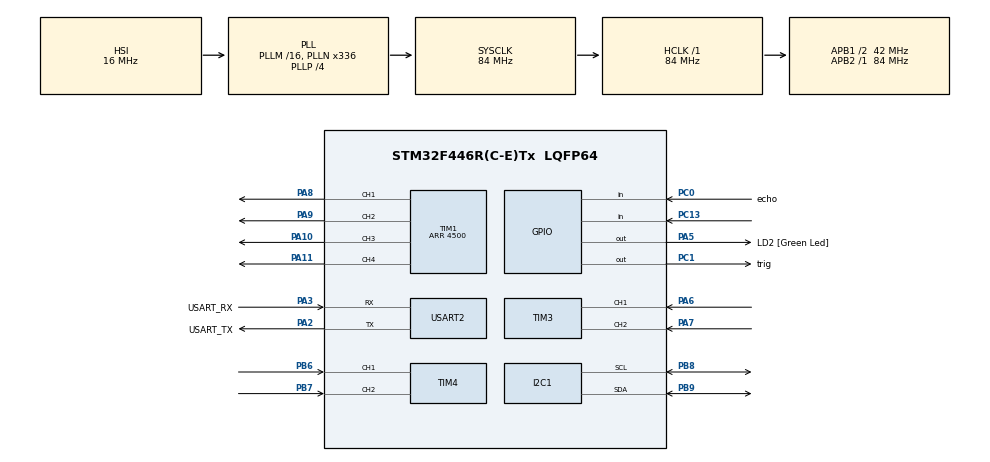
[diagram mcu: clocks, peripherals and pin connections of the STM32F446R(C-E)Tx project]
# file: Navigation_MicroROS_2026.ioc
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Dma.Request0=USART2_RX
Dma.Request1=USART2_TX
Dma.USART2_RX.0.Direction=DMA_PERIPH_TO_MEMORY
Dma.USART2_RX.0.FIFOMode=DMA_FIFOMODE_DISABLE
Dma.USART2_RX.0.Instance=DMA1_Stream5
Dma.USART2_RX.0.MemDataAlignment=DMA_MDATAALIGN_BYTE
Dma.USART2_RX.0.MemInc=DMA_MINC_ENABLE
Dma.USART2_RX.0.Mode=DMA_CIRCULAR
Dma.USART2_RX.0.PeriphDataAlignment=DMA_PDATAALIGN_BYTE
Dma.USART2_RX.0.PeriphInc=DMA_PINC_DISABLE
Dma.USART2_RX.0.Priority=DMA_PRIORITY_VERY_HIGH
Dma.USART2_TX.1.Direction=DMA_MEMORY_TO_PERIPH
Dma.USART2_TX.1.FIFOMode=DMA_FIFOMODE_DISABLE
Dma.USART2_TX.1.Instance=DMA1_Stream6
Dma.USART2_TX.1.MemDataAlignment=DMA_MDATAALIGN_BYTE
Dma.USART2_TX.1.MemInc=DMA_MINC_ENABLE
Dma.USART2_TX.1.Mode=DMA_NORMAL
Dma.USART2_TX.1.PeriphDataAlignment=DMA_PDATAALIGN_BYTE
Dma.USART2_TX.1.PeriphInc=DMA_PINC_DISABLE
Dma.USART2_TX.1.Priority=DMA_PRIORITY_VERY_HIGH
FREERTOS.Tasks01=defaultTask,24,2000,StartDefaultTask,Default,NULL,Dynamic,NULL,NULL;executor,8,500,executor_function,Default,NULL,Dynamic,NULL,NULL;IMU_update_task,8,500,IMU_update_function,Default,NULL,Dynamic,NULL,NULL
FREERTOS.configUSE_NEWLIB_REENTRANT=1
I2C1.I2C_Mode=I2C_Fast
Mcu.Family=STM32F4
Mcu.Name=STM32F446R(C-E)Tx
Mcu.Package=LQFP64
NVIC.DMA1_Stream5_IRQn=true\:5\:0\:false\:false\:true\:true\:false\:true\:true
NVIC.DMA1_Stream6_IRQn=true\:5\:0\:false\:false\:true\:true\:false\:true\:true
NVIC.PriorityGroup=NVIC_PRIORITYGROUP_4
NVIC.TIM2_IRQn=true\:15\:0\:true\:false\:true\:false\:false\:true\:true
NVIC.TIM7_IRQn=true\:5\:0\:false\:false\:true\:true\:true\:true\:true
NVIC.TIM8_TRG_COM_TIM14_IRQn=true\:5\:0\:false\:false\:true\:true\:true\:true\:true
NVIC.TimeBase=TIM2_IRQn
NVIC.TimeBaseIP=TIM2
NVIC.USART2_IRQn=true\:5\:0\:false\:false\:true\:true\:true\:true\:true
PA10.Signal=S_TIM1_CH3
PA11.Signal=S_TIM1_CH4
PA13.GPIO_Label=TMS
PA13.Mode=Trace_Asynchronous_SW
PA13.Signal=SYS_JTMS-SWDIO
PA14.GPIO_Label=TCK
PA14.Mode=Trace_Asynchronous_SW
PA14.Signal=SYS_JTCK-SWCLK
PA2.GPIO_Label=USART_TX
PA2.Mode=Asynchronous
PA2.Signal=USART2_TX
PA3.GPIO_Label=USART_RX
PA3.Mode=Asynchronous
PA3.Signal=USART2_RX
PA5.GPIO_Label=LD2 [Green Led]
PA5.Signal=GPIO_Output
PA6.GPIO_PuPd=GPIO_PULLUP
PA6.GPIO_Speed=GPIO_SPEED_FREQ_LOW
PA6.Signal=S_TIM3_CH1
PA7.GPIO_PuPd=GPIO_PULLUP
PA7.GPIO_Speed=GPIO_SPEED_FREQ_LOW
PA7.Signal=S_TIM3_CH2
PA8.Signal=S_TIM1_CH1
PA9.Signal=S_TIM1_CH2
PB3.GPIO_Label=SWO
PB3.Mode=Trace_Asynchronous_SW
PB3.Signal=SYS_JTDO-SWO
PB6.GPIO_PuPd=GPIO_PULLUP
PB6.GPIO_Speed=GPIO_SPEED_FREQ_LOW
PB6.Signal=S_TIM4_CH1
PB7.GPIO_PuPd=GPIO_PULLUP
PB7.GPIO_Speed=GPIO_SPEED_FREQ_LOW
PB7.Signal=S_TIM4_CH2
PB8.Mode=I2C
PB8.Signal=I2C1_SCL
PB9.Mode=I2C
PB9.Signal=I2C1_SDA
PC0.GPIO_Label=echo
PC0.Signal=GPIO_Input
PC1.GPIO_Label=trig
PC1.Signal=GPIO_Output
PC13.Signal=GPIO_Input
PC14-OSC32_IN.Signal=RCC_OSC32_IN
PC15-OSC32_OUT.Signal=RCC_OSC32_OUT
PH0-OSC_IN.Signal=RCC_OSC_IN
PH1-OSC_OUT.Signal=RCC_OSC_OUT
ProjectManager.HeapSize=0x200
ProjectManager.StackSize=0x400
ProjectManager.TargetToolchain=STM32CubeIDE
RCC.AHBFreq_Value=84000000
RCC.APB1CLKDivider=RCC_HCLK_DIV2
RCC.APB1Freq_Value=42000000
RCC.APB1TimFreq_Value=84000000
RCC.APB2Freq_Value=84000000
RCC.APB2TimFreq_Value=84000000
RCC.CortexFreq_Value=84000000
RCC.FLatency-AdvancedSettings=FLASH_LATENCY_2
RCC.HCLKFreq_Value=84000000
RCC.HSE_VALUE=8000000
RCC.HSI_VALUE=16000000
RCC.PLLN=336
RCC.PLLP=RCC_PLLP_DIV4
RCC.SYSCLKFreq_VALUE=84000000
RCC.SYSCLKSource=RCC_SYSCLKSOURCE_PLLCLK
RCC.USBFreq_Value=168000000
RCC.VCOOutputFreq_Value=336000000
SH.S_TIM1_CH1.0=TIM1_CH1,PWM Generation1 CH1
SH.S_TIM1_CH2.0=TIM1_CH2,PWM Generation2 CH2
SH.S_TIM1_CH3.0=TIM1_CH3,PWM Generation3 CH3
SH.S_TIM1_CH4.0=TIM1_CH4,PWM Generation4 CH4
SH.S_TIM3_CH1.0=TIM3_CH1,Encoder_Interface
SH.S_TIM3_CH2.0=TIM3_CH2,Encoder_Interface
SH.S_TIM4_CH1.0=TIM4_CH1,Encoder_Interface
SH.S_TIM4_CH2.0=TIM4_CH2,Encoder_Interface
TIM1.Channel-PWM\ Generation1\ CH1=TIM_CHANNEL_1
TIM1.Channel-PWM\ Generation2\ CH2=TIM_CHANNEL_2
TIM1.Channel-PWM\ Generation3\ CH3=TIM_CHANNEL_3
TIM1.Channel-PWM\ Generation4\ CH4=TIM_CHANNEL_4
TIM1.Period=4500
TIM14.Period=840-1
TIM3.EncoderMode=TIM_ENCODERMODE_TI12
TIM3.IC2Filter=0
TIM4.EncoderMode=TIM_ENCODERMODE_TI12
TIM4.IC2Filter=0
TIM5.Prescaler=83
TIM7.Period=999
TIM7.Prescaler=83
USART2.VirtualMode=VM_ASYNC
VP_FREERTOS_VS_CMSIS_V2.Mode=CMSIS_V2
VP_SYS_VS_tim2.Mode=TIM2
VP_TIM14_VS_ClockSourceINT.Mode=Enable_Timer
VP_TIM5_VS_ClockSourceINT.Mode=Internal
VP_TIM7_VS_ClockSourceINT.Mode=Enable_Timer
board=NUCLEO-F446RE

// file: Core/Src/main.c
/* USER CODE BEGIN Header */
/**
  ******************************************************************************
  * @file           : main.c
  * @brief          : Main program body
  ******************************************************************************
  * @attention
  *
  * Copyright (c) 2024 STMicroelectronics.
  * All rights reserved.
  *
  * This software is licensed under terms that can be found in the LICENSE file
  * in the root directory of this software component.
  * If no LICENSE file comes with this software, it is provided AS-IS.
  *
  ******************************************************************************
  */
/* USER CODE END Header */
#include "main.h"
#include "cmsis_os.h"

/* USER CODE BEGIN Includes */
#include <stdbool.h>
#include "../Inc/micro_ros.h"
#include "Motors.h"
#include "Odometry.h"
#include "navigation.h"
#include "EKF.h"

/* USER CODE END Includes */

/* USER CODE BEGIN PTD */

bool cubemx_transport_open(struct uxrCustomTransport * transport);
bool cubemx_transport_close(struct uxrCustomTransport * transport);
size_t cubemx_transport_write(struct uxrCustomTransport* transport, const uint8_t * buf, size_t len, uint8_t * err);
size_t cubemx_transport_read(struct uxrCustomTransport* transport, uint8_t* buf, size_t len, int timeout, uint8_t* err);

void * microros_allocate(size_t size, void * state);
void microros_deallocate(void * pointer, void * state);
void * microros_reallocate(void * pointer, size_t size, void * state);
void * microros_zero_allocate(size_t number_of_elements, size_t size_of_element, void * state);

/* USER CODE END PTD */

/* USER CODE BEGIN PD */

//  Service Callback
int8_t first_forward_recieved = 0;
// speed control parameters
float kpS_R = 15; // 5
float kdS_R = 0; // at this frequency, derivative is too noisy to be utilized
float kiS_R = 200; //

float kpS_L = 15; // 15
float kdS_L = 0; //
float kiS_L = 200; // 90

int timer_flag = 0;

// position control parameters
float kpP_R = 15;
float kdP_R = 1.4;
float kiP_R = 75;

float kpP_L = 15;
float kdP_L = 1.4;
float kiP_L = 75;

float error = 0;
float dt = 0.0001;

int step = 0;

int accepted_new_go_to = 0;
int command_count = 0;
int fail_safe_activated = 1;
int fail_safe_counter = 0;

int8_t in_tornado = 0;
int32_t tornado_start_time = 0;

float last_set_position_x = 0;
float last_set_position_y = 0;
float last_set_position_phi = 0;

int8_t tornado_condition(){
	 return (
			 ((fabs(current_speed_R) + fabs(current_speed_L)) > 900)
			 &&
			 (SGN(current_speed_R) != SGN(current_speed_L))
			);
}

void reset_everything(){
	reset_motors_vars();
	reset_odometry_vars();
	reset_navigation_vars();
	current_speed_R = 0;
	current_speed_L = 0;
	previous_speed_R = 0;
	previous_speed_L = 0;
	target_speed_R = 0;
	target_speed_L = 0;
	current_acceleration_R = 0;
	current_acceleration_L = 0;
	previous_speed_calculation_time = 0;

	speed_integral_R = 0;
	speed_derivative_R = 0;
	previous_speed_error_R = 0;
	speed_integral_L = 0;
	speed_derivative_L = 0;
	previous_speed_error_L = 0;
	current_x = 0;
	current_y = 0;
	current_phi = 0;
	absolute_phi = 0;

	PWM_R = 0;
	PWM_L = 0;
	current_imu_yaw = 0;
	current_imu_gyro_z = 0;
	absolute_imu_yaw = 0;

	control_loop_state = DISACTIVATED;
	reset_speed_control_variables();
	reset_position_control_variables();
	reset_position();

	set_position(last_set_position_x, last_set_position_y, last_set_position_phi, last_set_position_phi);

	communication_state = PC;

	robot_status.status = IDLE;
	set_target_speeds(0, 0);
	control_loop_state = SPEED;

	communication_state = RASPBERRY;
}
void shutdown(){
	control_loop_state = SHUTDOWN;
	delay(1);
	control_loop_state = SHUTDOWN;
	delay(1); // 3awedt'ha marrtin 5ater faza ta3 synchro
	PWM_R = 0;
	PWM_L = 0;
}

void service_callback(const void *request_msg, void *response_msg) {
    service__srv__NaviStm_Request *req_in = (service__srv__NaviStm_Request *)request_msg;
    service__srv__NaviStm_Response *res_out = (service__srv__NaviStm_Response *)response_msg;
    communication_state = RASPBERRY;

    switch ((int)req_in->arg1) {
									 case 4: //orientate
										prepare_orientate(req_in->arg2, req_in->arg3, req_in->arg4);
										res_out->result = true;  // orientation, is_radian
										break;

									 case 5: // go to
										prepare_go_to(req_in->arg2, req_in->arg3, req_in->arg4, 1, req_in->arg5);
										res_out->result = true;  // x, y, speed
										break;

									 case 6: // Reset
										prepare_reset();
										res_out->result = true;
										break;

									 case 10: // emergency break
										prepare_emergency_break();
										res_out->result = true;
										break;

									 case 11: // is the robot idle
										res_out->result = (robot_status.status == IDLE)? true: false;
										break;

									 case 12: // go to backwards
										prepare_go_to(req_in->arg2, req_in->arg3, req_in->arg4, -1, req_in->arg5);
										res_out->result = true;  // x, y, speed
										break;
									 case 13: // bezier curve
										prepare_bezier_curve(req_in->arg2, req_in->arg3, req_in->arg4, req_in->arg5, req_in->arg6, req_in->arg7, req_in->arg8, 1, req_in->arg9);
										res_out->result = true;  // x, y, speed
										break;
									 case 14: // bezier curve backwards
										prepare_bezier_curve(req_in->arg2, req_in->arg3, req_in->arg4, req_in->arg5, req_in->arg6, req_in->arg7, req_in->arg8, -1, req_in->arg9);
										res_out->result = true;  // x, y, speed
										break;
									 case 15: // set_position
										last_set_position_x = req_in->arg2;
										last_set_position_y = req_in->arg3;
										last_set_position_phi = req_in->arg4;
										prepare_set_position(req_in->arg2, req_in->arg3, req_in->arg4, req_in->arg4);
										res_out->result = true;  // x, y, speed
										break;
									 case 16:
										 res_out->result = (
												 	 	 		 (robot_status.status == IDLE)
															 	 ||
															 	 reached_destination
															)? true: false;
										 break;
									 case 17://fix x and y
										 __disable_irq();
										 control_loop_state = DISACTIVATED;
										 float front1_back2 = req_in->arg2; // should be one if front aruco detected, 2 if back is detected, 0 if none,
										 float front_aruco_x = req_in->arg3;
										 float front_aruco_y = req_in->arg4;
										 float back_aruco_x = req_in->arg3;
										 float back_aruco_y = req_in->arg4;
										 float backup_x = req_in->arg3;
										 float backup_y = req_in->arg4;
										 float robot_phi = current_phi;
										 //reset_everything();
										 command_count = 0;
										 robot_status.status = IDLE;
										 if (!front1_back2){
											reset_position();
											set_position(backup_x, backup_y, rad_to_deg(robot_phi), rad_to_deg(robot_phi));
										 }else if (front1_back2 == 1){
											 float x = front_aruco_x + front_aruco_relative_y*sin(robot_phi) - front_aruco_relative_x*cos(robot_phi);
											 float y = front_aruco_y - front_aruco_relative_x*sin(robot_phi) - front_aruco_relative_y*cos(robot_phi);
											 set_position(x, y, rad_to_deg(robot_phi), rad_to_deg(robot_phi));
										 }else{
											 float x = back_aruco_x + back_aruco_relative_y*sin(robot_phi) - back_aruco_relative_x*cos(robot_phi);
											 float y = back_aruco_y - back_aruco_relative_x*sin(robot_phi) - back_aruco_relative_y*cos(robot_phi);
											 set_position(x, y, rad_to_deg(robot_phi), rad_to_deg(robot_phi));
										 }
										 control_loop_state = ACTIVATED;
										 __enable_irq();
										 res_out->result = true;
										 break;
									 case 18:
										 res_out->result = stopped_because_of_collision? true: false;
										 break;
									 case 19: // shutdown
										 shutdown();
										 res_out->result = true;
										 break;
									 case 20: // creep to
										 prepare_creep_to(req_in->arg2, req_in->arg3, 1);
										 res_out->result = true;  // x, y, speed
										 break;
									 case 21: // creep to backwards
										 prepare_creep_to(req_in->arg2, req_in->arg3, -1);
										 res_out->result = true;  // x, y, speed
										 break;
									 default:
										  res_out->result = false;
										  break;

    			    	  		}
}
geometry_msgs__msg__Vector3 pose_msg;
void publish_odom(void){
	float pos[3];
	get_position(pos);
	pose_msg.x = pos[0]/1000.0;
	pose_msg.y = pos[1]/1000.0;
	pose_msg.z = pos[2];

	rcl_publish(&pose_publisher, &pose_msg, NULL);
}
std_msgs__msg__String debug_msg;
void publish_debug(const char * text)
{
    rosidl_runtime_c__String__assign(&debug_msg.data, text);
    rcl_publish(&debugger_publisher, &debug_msg, NULL);
}

/* USER CODE END PD */

I2C_HandleTypeDef hi2c1;

TIM_HandleTypeDef htim1;
TIM_HandleTypeDef htim3;
TIM_HandleTypeDef htim4;
TIM_HandleTypeDef htim5;
TIM_HandleTypeDef htim7;
TIM_HandleTypeDef htim14;

UART_HandleTypeDef huart2;
DMA_HandleTypeDef hdma_usart2_rx;
DMA_HandleTypeDef hdma_usart2_tx;

/* Definitions for defaultTask */
osThreadId_t defaultTaskHandle;
const osThreadAttr_t defaultTask_attributes = {
  .name = "defaultTask",
  .stack_size = 2050 * 4,
  .priority = (osPriority_t) osPriorityNormal,
};
/* Definitions for executor */
osThreadId_t executorHandle;
const osThreadAttr_t executor_attributes = {
  .name = "executor",
  .stack_size = 750 * 4,
  .priority = (osPriority_t) osPriorityLow,
};
/* Definitions for IMU_update_task */
osThreadId_t IMU_update_taskHandle;
const osThreadAttr_t IMU_update_task_attributes = {
  .name = "IMU_update_task",
  .stack_size = 400 * 4,
  .priority = (osPriority_t) osPriorityLow,
};

void SystemClock_Config(void);
static void MX_GPIO_Init(void);
static void MX_DMA_Init(void);
static void MX_TIM1_Init(void);
static void MX_TIM3_Init(void);
static void MX_TIM4_Init(void);
static void MX_TIM7_Init(void);
static void MX_USART2_UART_Init(void);
static void MX_TIM14_Init(void);
static void MX_TIM5_Init(void);
static void MX_I2C1_Init(void);
void StartDefaultTask(void *argument);
void executor_function(void *argument);
void IMU_update_function(void *argument);

int main(void)
{

  /* MCU Configuration--------------------------------------------------------*/

  /* Reset of all peripherals, Initializes the Flash interface and the Systick. */
  HAL_Init();

  /* Configure the system clock */
  SystemClock_Config();

  /* Initialize all configured peripherals */
  MX_GPIO_Init();
  MX_DMA_Init();
  MX_TIM1_Init();
  MX_TIM3_Init();
  MX_TIM4_Init();
  MX_TIM7_Init();
  MX_USART2_UART_Init();
  MX_TIM14_Init();
  MX_TIM5_Init();
  MX_I2C1_Init();
  /* USER CODE BEGIN 2 */
  // setting up timers and stuff
  // TODO: configure correct parameters
  setup_motor_channels(&htim1, TIM_CHANNEL_4, TIM_CHANNEL_3, TIM_CHANNEL_2, TIM_CHANNEL_1);
  setup_encoder_timers(&htim3, &htim4, 14400);
  //setup_wheel_diameters(79.67706788, 80.9302886);
  setup_wheel_diameters(64.408532262731481481481481481482, 64.34127197265625);

  setup_wheels_spacing(188.5, 284.65674156305276595831931407686);

  setup_aruco_positions(61, 96.85, -76.9, -97.35);
  //setup_wheels_spacing(188.5, 342.5);
  setup_PWM_min_max(4499, 805, 835, -805, -835);

  // starting timers
  HAL_TIM_Base_Start_IT(&htim7); // interrupt timer

  TIM5->CNT = 0;
  HAL_TIM_Base_Start(&htim5); // main clock timer

  HAL_TIM_PWM_Start(&htim1, TIM_CHANNEL_1); // PWM timer
  HAL_TIM_PWM_Start(&htim1, TIM_CHANNEL_2);
  HAL_TIM_PWM_Start(&htim1, TIM_CHANNEL_3);
  HAL_TIM_PWM_Start(&htim1, TIM_CHANNEL_4);

  HAL_TIM_Encoder_Start(&htim3, TIM_CHANNEL_ALL); // encoder timer
  HAL_TIM_Encoder_Start(&htim4, TIM_CHANNEL_ALL); // encoder timer

  //set_IMU_I2C_channel(&hi2c1); // set I²C channel of the IMU, abandoned

  // hedhom lezem ykounou hnee, tes2elch 3leech
  current_speed_R = 0;
  current_speed_L = 0;
  previous_speed_R = 0;
  previous_speed_L = 0;
  target_speed_R = 0;
  target_speed_L = 0;
  current_acceleration_R = 0;
  current_acceleration_L = 0;
  previous_speed_calculation_time = 0;

  speed_integral_R = 0;
  speed_derivative_R = 0;
  previous_speed_error_R = 0;
  speed_integral_L = 0;
  speed_derivative_L = 0;
  previous_speed_error_L = 0;
  current_x = 0;
  current_y = 0;
  current_phi = 0;
  absolute_phi = 0;

  PWM_R = 0;
  PWM_L = 0;
  current_imu_yaw = 0;
  current_imu_gyro_z = 0;
  absolute_imu_yaw = 0;
  communication_state = PC;

  reset_position();
  set_position(0, 0, 0, 0);
  control_loop_state = DISACTIVATED;

  robot_status.status = IDLE;
  set_target_speeds(0, 0);
  control_loop_state = SPEED;

//  rotating_speed = 300;
//  rotate(3600, 0, 0);
//
//  set_target_encoder_counts(0, 0);
//  while(1){
//	  send_values_to_usart(encoder_count_R, encoder_count_L, 0, 0);
//	  delay(10);
//  }
  /* USER CODE END 2 */

  /* Init scheduler */
  osKernelInitialize();

  /* Create the thread(s) */
  /* creation of defaultTask */
  defaultTaskHandle = osThreadNew(StartDefaultTask, NULL, &defaultTask_attributes);

  /* creation of executor */
  executorHandle = osThreadNew(executor_function, NULL, &executor_attributes);

  /* creation of IMU_update_task */
  IMU_update_taskHandle = osThreadNew(IMU_update_function, NULL, &IMU_update_task_attributes);

  /* Start scheduler */
  osKernelStart();

  /* We should never get here as control is now taken by the scheduler */

  /* Infinite loop */
  while (1)
  {

  }
}

void SystemClock_Config(void)
{
  RCC_OscInitTypeDef RCC_OscInitStruct = {0};
  RCC_ClkInitTypeDef RCC_ClkInitStruct = {0};

  /** Configure the main internal regulator output voltage
  */
  __HAL_RCC_PWR_CLK_ENABLE();
  __HAL_PWR_VOLTAGESCALING_CONFIG(PWR_REGULATOR_VOLTAGE_SCALE3);

  /** Initializes the RCC Oscillators according to the specified parameters
  * in the RCC_OscInitTypeDef structure.
  */
  RCC_OscInitStruct.OscillatorType = RCC_OSCILLATORTYPE_HSI;
  RCC_OscInitStruct.HSIState = RCC_HSI_ON;
  RCC_OscInitStruct.HSICalibrationValue = RCC_HSICALIBRATION_DEFAULT;
  RCC_OscInitStruct.PLL.PLLState = RCC_PLL_ON;
  RCC_OscInitStruct.PLL.PLLSource = RCC_PLLSOURCE_HSI;
  RCC_OscInitStruct.PLL.PLLM = 16;
  RCC_OscInitStruct.PLL.PLLN = 336;
  RCC_OscInitStruct.PLL.PLLP = RCC_PLLP_DIV4;
  RCC_OscInitStruct.PLL.PLLQ = 2;
  RCC_OscInitStruct.PLL.PLLR = 2;
  if (HAL_RCC_OscConfig(&RCC_OscInitStruct) != HAL_OK)
  {
    Error_Handler();
  }

  /** Initializes the CPU, AHB and APB buses clocks
  */
  RCC_ClkInitStruct.ClockType = RCC_CLOCKTYPE_HCLK|RCC_CLOCKTYPE_SYSCLK
                              |RCC_CLOCKTYPE_PCLK1|RCC_CLOCKTYPE_PCLK2;
  RCC_ClkInitStruct.SYSCLKSource = RCC_SYSCLKSOURCE_PLLCLK;
  RCC_ClkInitStruct.AHBCLKDivider = RCC_SYSCLK_DIV1;
  RCC_ClkInitStruct.APB1CLKDivider = RCC_HCLK_DIV2;
  RCC_ClkInitStruct.APB2CLKDivider = RCC_HCLK_DIV1;

  if (HAL_RCC_ClockConfig(&RCC_ClkInitStruct, FLASH_LATENCY_2) != HAL_OK)
  {
    Error_Handler();
  }
}

static void MX_I2C1_Init(void)
{

  hi2c1.Instance = I2C1;
  hi2c1.Init.ClockSpeed = 400000;
  hi2c1.Init.DutyCycle = I2C_DUTYCYCLE_2;
  hi2c1.Init.OwnAddress1 = 0;
  hi2c1.Init.AddressingMode = I2C_ADDRESSINGMODE_7BIT;
  hi2c1.Init.DualAddressMode = I2C_DUALADDRESS_DISABLE;
  hi2c1.Init.OwnAddress2 = 0;
  hi2c1.Init.GeneralCallMode = I2C_GENERALCALL_DISABLE;
  hi2c1.Init.NoStretchMode = I2C_NOSTRETCH_DISABLE;
  if (HAL_I2C_Init(&hi2c1) != HAL_OK)
  {
    Error_Handler();
  }

}

static void MX_TIM1_Init(void)
{

  TIM_MasterConfigTypeDef sMasterConfig = {0};
  TIM_OC_InitTypeDef sConfigOC = {0};
  TIM_BreakDeadTimeConfigTypeDef sBreakDeadTimeConfig = {0};

  htim1.Instance = TIM1;
  htim1.Init.Prescaler = 0;
  htim1.Init.CounterMode = TIM_COUNTERMODE_UP;
  htim1.Init.Period = 4500;
  htim1.Init.ClockDivision = TIM_CLOCKDIVISION_DIV1;
  htim1.Init.RepetitionCounter = 0;
  htim1.Init.AutoReloadPreload = TIM_AUTORELOAD_PRELOAD_DISABLE;
  if (HAL_TIM_PWM_Init(&htim1) != HAL_OK)
  {
    Error_Handler();
  }
  sMasterConfig.MasterOutputTrigger = TIM_TRGO_RESET;
  sMasterConfig.MasterSlaveMode = TIM_MASTERSLAVEMODE_DISABLE;
  if (HAL_TIMEx_MasterConfigSynchronization(&htim1, &sMasterConfig) != HAL_OK)
  {
    Error_Handler();
  }
  sConfigOC.OCMode = TIM_OCMODE_PWM1;
  sConfigOC.Pulse = 0;
  sConfigOC.OCPolarity = TIM_OCPOLARITY_HIGH;
  sConfigOC.OCNPolarity = TIM_OCNPOLARITY_HIGH;
  sConfigOC.OCFastMode = TIM_OCFAST_DISABLE;
  sConfigOC.OCIdleState = TIM_OCIDLESTATE_RESET;
  sConfigOC.OCNIdleState = TIM_OCNIDLESTATE_RESET;
  if (HAL_TIM_PWM_ConfigChannel(&htim1, &sConfigOC, TIM_CHANNEL_1) != HAL_OK)
  {
    Error_Handler();
  }
  if (HAL_TIM_PWM_ConfigChannel(&htim1, &sConfigOC, TIM_CHANNEL_2) != HAL_OK)
  {
    Error_Handler();
  }
  if (HAL_TIM_PWM_ConfigChannel(&htim1, &sConfigOC, TIM_CHANNEL_3) != HAL_OK)
  {
    Error_Handler();
  }
  if (HAL_TIM_PWM_ConfigChannel(&htim1, &sConfigOC, TIM_CHANNEL_4) != HAL_OK)
  {
    Error_Handler();
  }
  sBreakDeadTimeConfig.OffStateRunMode = TIM_OSSR_DISABLE;
  sBreakDeadTimeConfig.OffStateIDLEMode = TIM_OSSI_DISABLE;
  sBreakDeadTimeConfig.LockLevel = TIM_LOCKLEVEL_OFF;
  sBreakDeadTimeConfig.DeadTime = 0;
  sBreakDeadTimeConfig.BreakState = TIM_BREAK_DISABLE;
  sBreakDeadTimeConfig.BreakPolarity = TIM_BREAKPOLARITY_HIGH;
  sBreakDeadTimeConfig.AutomaticOutput = TIM_AUTOMATICOUTPUT_DISABLE;
  if (HAL_TIMEx_ConfigBreakDeadTime(&htim1, &sBreakDeadTimeConfig) != HAL_OK)
  {
    Error_Handler();
  }
  HAL_TIM_MspPostInit(&htim1);

}

static void MX_TIM3_Init(void)
{

  TIM_Encoder_InitTypeDef sConfig = {0};
  TIM_MasterConfigTypeDef sMasterConfig = {0};

  htim3.Instance = TIM3;
  htim3.Init.Prescaler = 0;
  htim3.Init.CounterMode = TIM_COUNTERMODE_UP;
  htim3.Init.Period = 65535;
  htim3.Init.ClockDivision = TIM_CLOCKDIVISION_DIV1;
  htim3.Init.AutoReloadPreload = TIM_AUTORELOAD_PRELOAD_DISABLE;
  sConfig.EncoderMode = TIM_ENCODERMODE_TI12;
  sConfig.IC1Polarity = TIM_ICPOLARITY_RISING;
  sConfig.IC1Selection = TIM_ICSELECTION_DIRECTTI;
  sConfig.IC1Prescaler = TIM_ICPSC_DIV1;
  sConfig.IC1Filter = 0;
  sConfig.IC2Polarity = TIM_ICPOLARITY_RISING;
  sConfig.IC2Selection = TIM_ICSELECTION_DIRECTTI;
  sConfig.IC2Prescaler = TIM_ICPSC_DIV1;
  sConfig.IC2Filter = 0;
  if (HAL_TIM_Encoder_Init(&htim3, &sConfig) != HAL_OK)
  {
    Error_Handler();
  }
  sMasterConfig.MasterOutputTrigger = TIM_TRGO_RESET;
  sMasterConfig.MasterSlaveMode = TIM_MASTERSLAVEMODE_DISABLE;
  if (HAL_TIMEx_MasterConfigSynchronization(&htim3, &sMasterConfig) != HAL_OK)
  {
    Error_Handler();
  }

}

static void MX_TIM4_Init(void)
{

  TIM_Encoder_InitTypeDef sConfig = {0};
  TIM_MasterConfigTypeDef sMasterConfig = {0};

  htim4.Instance = TIM4;
  htim4.Init.Prescaler = 0;
  htim4.Init.CounterMode = TIM_COUNTERMODE_UP;
  htim4.Init.Period = 65535;
  htim4.Init.ClockDivision = TIM_CLOCKDIVISION_DIV1;
  htim4.Init.AutoReloadPreload = TIM_AUTORELOAD_PRELOAD_DISABLE;
  sConfig.EncoderMode = TIM_ENCODERMODE_TI12;
  sConfig.IC1Polarity = TIM_ICPOLARITY_RISING;
  sConfig.IC1Selection = TIM_ICSELECTION_DIRECTTI;
  sConfig.IC1Prescaler = TIM_ICPSC_DIV1;
  sConfig.IC1Filter = 0;
  sConfig.IC2Polarity = TIM_ICPOLARITY_RISING;
  sConfig.IC2Selection = TIM_ICSELECTION_DIRECTTI;
  sConfig.IC2Prescaler = TIM_ICPSC_DIV1;
  sConfig.IC2Filter = 0;
  if (HAL_TIM_Encoder_Init(&htim4, &sConfig) != HAL_OK)
  {
    Error_Handler();
  }
  sMasterConfig.MasterOutputTrigger = TIM_TRGO_RESET;
  sMasterConfig.MasterSlaveMode = TIM_MASTERSLAVEMODE_DISABLE;
  if (HAL_TIMEx_MasterConfigSynchronization(&htim4, &sMasterConfig) != HAL_OK)
  {
    Error_Handler();
  }

}

static void MX_TIM5_Init(void)
{

  TIM_ClockConfigTypeDef sClockSourceConfig = {0};
  TIM_MasterConfigTypeDef sMasterConfig = {0};

  htim5.Instance = TIM5;
  htim5.Init.Prescaler = 83;
  htim5.Init.CounterMode = TIM_COUNTERMODE_UP;
  htim5.Init.Period = 4294967295;
  htim5.Init.ClockDivision = TIM_CLOCKDIVISION_DIV1;
  htim5.Init.AutoReloadPreload = TIM_AUTORELOAD_PRELOAD_DISABLE;
  if (HAL_TIM_Base_Init(&htim5) != HAL_OK)
  {
    Error_Handler();
  }
  sClockSourceConfig.ClockSource = TIM_CLOCKSOURCE_INTERNAL;
  if (HAL_TIM_ConfigClockSource(&htim5, &sClockSourceConfig) != HAL_OK)
  {
    Error_Handler();
  }
  sMasterConfig.MasterOutputTrigger = TIM_TRGO_RESET;
  sMasterConfig.MasterSlaveMode = TIM_MASTERSLAVEMODE_DISABLE;
  if (HAL_TIMEx_MasterConfigSynchronization(&htim5, &sMasterConfig) != HAL_OK)
  {
    Error_Handler();
  }

}

static void MX_TIM7_Init(void)
{

  TIM_MasterConfigTypeDef sMasterConfig = {0};

  /* USER CODE BEGIN TIM7_Init 1 */
  __HAL_RCC_TIM7_CLK_ENABLE();
  /* USER CODE END TIM7_Init 1 */
  htim7.Instance = TIM7;
  htim7.Init.Prescaler = 83;
  htim7.Init.CounterMode = TIM_COUNTERMODE_UP;
  htim7.Init.Period = 999;
  htim7.Init.AutoReloadPreload = TIM_AUTORELOAD_PRELOAD_DISABLE;
  if (HAL_TIM_Base_Init(&htim7) != HAL_OK)
  {
    Error_Handler();
  }
  sMasterConfig.MasterOutputTrigger = TIM_TRGO_RESET;
  sMasterConfig.MasterSlaveMode = TIM_MASTERSLAVEMODE_DISABLE;
  if (HAL_TIMEx_MasterConfigSynchronization(&htim7, &sMasterConfig) != HAL_OK)
  {
    Error_Handler();
  }

}

static void MX_TIM14_Init(void)
{

  htim14.Instance = TIM14;
  htim14.Init.Prescaler = 0;
  htim14.Init.CounterMode = TIM_COUNTERMODE_UP;
  htim14.Init.Period = 840-1;
  htim14.Init.ClockDivision = TIM_CLOCKDIVISION_DIV1;
  htim14.Init.AutoReloadPreload = TIM_AUTORELOAD_PRELOAD_DISABLE;
  if (HAL_TIM_Base_Init(&htim14) != HAL_OK)
  {
    Error_Handler();
  }

}

static void MX_USART2_UART_Init(void)
{

  huart2.Instance = USART2;
  huart2.Init.BaudRate = 115200;
  huart2.Init.WordLength = UART_WORDLENGTH_8B;
  huart2.Init.StopBits = UART_STOPBITS_1;
  huart2.Init.Parity = UART_PARITY_NONE;
  huart2.Init.Mode = UART_MODE_TX_RX;
  huart2.Init.HwFlowCtl = UART_HWCONTROL_NONE;
  huart2.Init.OverSampling = UART_OVERSAMPLING_16;
  if (HAL_UART_Init(&huart2) != HAL_OK)
  {
    Error_Handler();
  }

}

static void MX_DMA_Init(void)
{

  /* DMA controller clock enable */
  __HAL_RCC_DMA1_CLK_ENABLE();

  /* DMA interrupt init */
  /* DMA1_Stream5_IRQn interrupt configuration */
  HAL_NVIC_SetPriority(DMA1_Stream5_IRQn, 5, 0);
  HAL_NVIC_EnableIRQ(DMA1_Stream5_IRQn);
  /* DMA1_Stream6_IRQn interrupt configuration */
  HAL_NVIC_SetPriority(DMA1_Stream6_IRQn, 5, 0);
  HAL_NVIC_EnableIRQ(DMA1_Stream6_IRQn);

}

static void MX_GPIO_Init(void)
{
  GPIO_InitTypeDef GPIO_InitStruct = {0};

  /* GPIO Ports Clock Enable */
  __HAL_RCC_GPIOC_CLK_ENABLE();
  __HAL_RCC_GPIOH_CLK_ENABLE();
  __HAL_RCC_GPIOA_CLK_ENABLE();
  __HAL_RCC_GPIOB_CLK_ENABLE();

  /*Configure GPIO pin Output Level */
  HAL_GPIO_WritePin(trig_GPIO_Port, trig_Pin, GPIO_PIN_RESET);

  /*Configure GPIO pin Output Level */
  HAL_GPIO_WritePin(LD2_GPIO_Port, LD2_Pin, GPIO_PIN_RESET);

  /*Configure GPIO pins : PC13 echo_Pin */
  GPIO_InitStruct.Pin = GPIO_PIN_13|echo_Pin;
  GPIO_InitStruct.Mode = GPIO_MODE_INPUT;
  GPIO_InitStruct.Pull = GPIO_NOPULL;
  HAL_GPIO_Init(GPIOC, &GPIO_InitStruct);

  /*Configure GPIO pin : trig_Pin */
  GPIO_InitStruct.Pin = trig_Pin;
  GPIO_InitStruct.Mode = GPIO_MODE_OUTPUT_PP;
  GPIO_InitStruct.Pull = GPIO_NOPULL;
  GPIO_InitStruct.Speed = GPIO_SPEED_FREQ_LOW;
  HAL_GPIO_Init(trig_GPIO_Port, &GPIO_InitStruct);

  /*Configure GPIO pin : LD2_Pin */
  GPIO_InitStruct.Pin = LD2_Pin;
  GPIO_InitStruct.Mode = GPIO_MODE_OUTPUT_PP;
  GPIO_InitStruct.Pull = GPIO_NOPULL;
  GPIO_InitStruct.Speed = GPIO_SPEED_FREQ_LOW;
  HAL_GPIO_Init(LD2_GPIO_Port, &GPIO_InitStruct);

}

void StartDefaultTask(void *argument)
{
  /* USER CODE BEGIN 5 */

  SystemState system_state = AGENT_WAIT;
  rcl_ret_t ret;

  // Set Micro-ROS transport ONCE
  rmw_uros_set_custom_transport(
      true,
      (void *)&huart2,
      cubemx_transport_open,
      cubemx_transport_close,
      cubemx_transport_write,
      cubemx_transport_read
  );

  allocator = rcl_get_default_allocator();

  for (;;)
  {
    switch (system_state)
    {
      case AGENT_WAIT:
        // Ping agent every 500 ms
        execute_every_n_ms(
          500,
          system_state =
            (rmw_uros_ping_agent(100, 1) == RMW_RET_OK)
              ? AGENT_AVAILABLE
              : AGENT_WAIT
        );
        break;

      case AGENT_AVAILABLE:
        if (create_rcl_entities())
        {
          system_state = AGENT_CONNECTED;
          std_msgs__msg__String__init(&debug_msg);
        }
        else
        {
          system_state = AGENT_WAIT;
        }

        break;

      case AGENT_CONNECTED:
        // Check agent health every 100 ms
    	  if (rmw_uros_ping_agent(100, 1) != RMW_RET_OK)
    	    {
    	      system_state = AGENT_DISCONNECTED;
    	      break;
    	    }
		  ret = rclc_executor_spin_some(&executor, RCL_MS_TO_NS(10));

		  if (ret == RCL_RET_OK)
		  {
			publish_odom();
			char buf[20];
			snprintf(buf, sizeof(buf), "%d", (int)(robot_status.status + control_loop_state*100 + (int)rad_to_deg(current_phi)*10000));
			publish_debug(buf);
		  }
		  break;
      case AGENT_DISCONNECTED:
              destroy_rcl_entities();     // clean old session
              system_state = AGENT_WAIT; // start pinging again
              break;

      default:
        system_state = AGENT_WAIT;
        break;
    }

    osDelay(1);
  }

  /* USER CODE END 5 */
}

//en of micro ros

void executor_function(void *argument)
{
  /* USER CODE BEGIN executor_function */
  /* Infinite loop */
  for(;;)
  {
	if ( robot_status.status != IDLE){
		if ( robot_status.status == MOVIN_FORWARD){
			move_forward(robot_status.arguments[0], robot_status.arguments[1], robot_status.arguments[2]);
			robot_status.status = IDLE;
		}
		else if ( robot_status.status == MOVIN_BACKWARD){
			move_forward((-1)*robot_status.arguments[0], robot_status.arguments[1], robot_status.arguments[2]);
			robot_status.status = IDLE;
		}
		else if ( robot_status.status == ROTATIN){
			rotate(robot_status.arguments[0], robot_status.arguments[1], robot_status.arguments[2]);
			robot_status.status = IDLE;
		}
		else if ( robot_status.status == ORIENTATIN){
			orientate(roundf(robot_status.arguments[0]), roundf(robot_status.arguments[1]), roundf(robot_status.arguments[2]));
			robot_status.status = IDLE;
		}
		else if ( robot_status.status == GOIN_TO){
			accepted_new_go_to++;
			go_to(roundf(robot_status.arguments[0]), roundf(robot_status.arguments[1]), roundf(robot_status.arguments[2]), 1, roundf(robot_status.arguments[3]));
			robot_status.status = IDLE;
		}
		else if ( robot_status.status == GOIN_TO_BACKWARDS){
			go_to(roundf(robot_status.arguments[0]), roundf(robot_status.arguments[1]), roundf(robot_status.arguments[2]), -1, roundf(robot_status.arguments[3]));
			robot_status.status = IDLE;
		}
		else if ( robot_status.status == BEZIER_CURVIN){
			if (get_distance_to(robot_status.arguments[4], robot_status.arguments[5]) < 2000){
				bezier_curve(roundf(robot_status.arguments[0]), roundf(robot_status.arguments[1]), roundf(robot_status.arguments[2]), roundf(robot_status.arguments[3]), roundf(robot_status.arguments[4]), roundf(robot_status.arguments[5]), roundf(robot_status.arguments[6]), 1, roundf(robot_status.arguments[7]));
			}
			robot_status.status = IDLE;
		}
		else if ( robot_status.status == BEZIER_CURVIN_BACKWARDS){
			if (get_distance_to(robot_status.arguments[4], robot_status.arguments[5]) < 2000){
				bezier_curve(roundf(robot_status.arguments[0]), roundf(robot_status.arguments[1]), roundf(robot_status.arguments[2]), roundf(robot_status.arguments[3]), roundf(robot_status.arguments[4]), roundf(robot_status.arguments[5]), roundf(robot_status.arguments[6]), -1, roundf(robot_status.arguments[7]));
			}
			robot_status.status = IDLE;
		}
		else if ( robot_status.status == SETTIN_POSITION){
			set_position(robot_status.arguments[0], robot_status.arguments[1], robot_status.arguments[2], robot_status.arguments[3]);
			robot_status.status = IDLE;
		}
		else if ( robot_status.status == RESETIN){
			reset_everything();
			robot_status.status = IDLE;
		}
		else if ( robot_status.status == CREEPIN_TO){
			creep_to(roundf(robot_status.arguments[0]), roundf(robot_status.arguments[1]), 1);
			robot_status.status = IDLE;
		}
		else if ( robot_status.status == CREEPIN_TO_BACKWARDS){
			creep_to(roundf(robot_status.arguments[0]), roundf(robot_status.arguments[1]), -1);
			robot_status.status = IDLE;
		}
		if (robot_status.status == IDLE && command_history%10 != 0){
			command_history = command_history*10;
		}
	}
    osDelay(10);
  }
  /* USER CODE END executor_function */
}

void IMU_update_function(void *argument)
{
  /* USER CODE BEGIN IMU_update_function */
  /* Infinite loop */
  for(;;)
  {
	// IMU abandoned, bhim yeser brojla, a7wel
	//update_current_yaw();
	//send_values_to_usart(absolute_imu_yaw*100, absolute_phi*100, current_imu_yaw*100, current_imu_gyro_z*100);
//	 prepare_bezier_curve(100, 0, 200, 0, 1000, 0, 1100, 1, 0);
//	rotating_speed = 300;
//	set_position(1750, 1845, 180, 180);
//	prepare_go_to(1000, 0, 300, 1, 0);
//	delay(10000);
//	prepare_go_to(2400, 0, 300, 1, 0);
//	delay(15000);
//	prepare_go_to(2400, -800, 300, 1, 0);
//	delay(6000);
//	prepare_go_to(1750, 1845, 1100, 1, 0);
//	delay(6000);
//	prepare_orientate(180, 0, 0);
//	delay(700);
//	prepare_emergency_break();
//
//	prepare_creep_to(100, 0, 1);

    delay(60000000);
  }
  /* USER CODE END IMU_update_function */
}

void HAL_TIM_PeriodElapsedCallback(TIM_HandleTypeDef *htim)
{
  /* USER CODE BEGIN Callback 0 */
	if (htim-> Instance == TIM7){
		if(control_loop_state == DISACTIVATED){
			PWM_L = 0;
			PWM_R = 0;
		}else{
			//update_position(skip_position_update);
			update_position(0);
			if (control_loop_state == SPEED){
				dt = (micros() - previous_speed_control_time);
				if (dt > 100){
					// right motor speed control
					float error = target_speed_R - current_speed_R;

					speed_derivative_R = speed_derivative_R*0.999 + 0.001*(error - previous_speed_error_R)*1000000/dt; // unit = mm/s²
					speed_integral_R += error*(dt/1000000);

					previous_speed_error_R = error;

					PWM_R = PWM_R*0.2 + 0.8 * (PWM_offset_R + kpS_R*error + kdS_R*speed_derivative_R + kiS_R*speed_integral_R); // the first part is a simple filter to reduce jitter
					PWM_R = (PWM_R > PWM_max)? PWM_max : (PWM_R < -PWM_max)? -PWM_max : PWM_R;
					PWM_R = (target_speed_R == 0)?0: PWM_R;

					speed_integral_R = ( (PWM_R == PWM_max) || (PWM_R == -PWM_max) || (fabs(speed_integral_R*kiS_R) > PWM_max) )? (speed_integral_R - 2*error*(dt/1000000)) : speed_integral_R;

					// left motor speed control
					error = target_speed_L - current_speed_L;
					speed_derivative_L = speed_derivative_L*0.999 + 0.001*(error - previous_speed_error_L)*1000000/dt; // unit = mm/s²
					speed_integral_L += error*(dt/1000000);

					previous_speed_error_L = error;
					previous_speed_control_time = micros();

					PWM_L = PWM_L*0.2 + 0.8 * (PWM_offset_L + kpS_L*error + kdS_L*speed_derivative_L + kiS_L*speed_integral_L);
					PWM_L = (PWM_L > PWM_max)? PWM_max : (PWM_L < -PWM_max)? -PWM_max : PWM_L;
					PWM_L = (target_speed_L == 0)?0: PWM_L;

					speed_integral_L = ( (PWM_L == PWM_max) || (PWM_L == -PWM_max) || (fabs(speed_integral_L*kiS_L) > PWM_max) )? (speed_integral_L - 2*error*(dt/1000000)) : speed_integral_L;
				}

			}else if (control_loop_state == POSITION){
				dt = (micros() - previous_position_control_time);
				if (dt > 100){
					// right motor position control
					error = (target_encoder_count_R - encoder_count_R)/3; // /3 because it was 1000ticks encoders but now it is 3600, i don't wanna tune it again

					position_derivative_R = (error - previous_position_error_R)*1000000/dt; // unit = tick/s²

					position_integral_R = ( SGN(error) == SGN( previous_position_error_R ) )? position_integral_R + error*(dt/1000000) : 0;

					previous_position_error_R = error;

					PWM_R = kpP_R*error + kdP_R*position_derivative_R + kiP_R*position_integral_R; // the first part is a simple filter to reduce jitter
					PWM_R = (PWM_R > PWM_R_forward_min + position_max_response)? PWM_R_forward_min + position_max_response : (PWM_R < PWM_R_backward_min - position_max_response)? PWM_R_backward_min - position_max_response : PWM_R;

					position_integral_R = ( (PWM_R == PWM_max) || (PWM_R == -PWM_max) )? (position_integral_R - 2*error*(dt/1000000)) : position_integral_R;

					// left motor position control
					error = (target_encoder_count_L - encoder_count_L)/3;

					position_derivative_L = (error - previous_position_error_L)*1000000/dt; // unit = mm/s²
					position_integral_L = ( SGN(error) == SGN( previous_position_error_L) )? position_integral_L + error*(dt/1000000) : 0;

					previous_position_error_L = error;

					PWM_L = kpP_L*error + kdP_L*position_derivative_L + kiP_L*position_integral_L; // the first part is a simple filter to reduce jitter
					PWM_L = (PWM_L > PWM_L_forward_min + position_max_response)? PWM_L_forward_min + position_max_response : (PWM_L < PWM_L_backward_min - position_max_response)? PWM_L_backward_min - position_max_response : PWM_L;

					position_integral_L = ( (PWM_L == PWM_max) || (PWM_L == -PWM_max) )? (position_integral_L - 2*error*(dt/1000000)) : position_integral_L;

					previous_position_error_L = error;
					previous_position_control_time = micros();

					if (
							(
								(wheel_state_L == EMERGENCY_BREAK)
								&&
								(abs(encoder_count_R - target_encoder_count_R) > 10000 )
								&&
								(abs(target_encoder_count_L - encoder_count_L) > 10000 )
							)
							||
							(
								(wheel_state_L != EMERGENCY_BREAK)
								&&
								(abs(encoder_count_R - target_encoder_count_R) > 5000 )
								&&
								(abs(target_encoder_count_L - encoder_count_L) > 5000 )
							)
						){
						set_target_encoder_counts(encoder_count_R, encoder_count_L);
					}
				}
			}
			// collision failsafe
			if (
					(robot_status.status != CREEPIN_TO)
					&&
					(robot_status.status != CREEPIN_TO_BACKWARDS)
					&&
					fail_safe_activated
					&&
					(
						(fabs(PWM_R) > STOP_PWM_THRESHOLD &&
						 fabs(current_speed_R) < STOP_SPEED_THRESHOLD)

						||

						(fabs(PWM_L) > STOP_PWM_THRESHOLD &&
						 fabs(current_speed_L) < STOP_SPEED_THRESHOLD)
					)
				)
				{
					// EMERGENCY STOP
                 fail_safe_counter++;
                 if(fail_safe_counter >250){
                	 prepare_emergency_break();
                	 stopped_because_of_collision = 1;
                 }
			}
			else {
				 fail_safe_counter = 0;
			}
			///////////////////////////
			////// tornado failsafe
			if(in_tornado){
				if (tornado_condition()){
					if ((micros() - tornado_start_time) > 1200000){
						//////////
						if (control_loop_state == POSITION){
							emergency_break();
							robot_status.status = IDLE;
						}else{
							prepare_emergency_break();
						}
						in_tornado = 0;
					}
				}else{
					in_tornado = 0;
				}
			}else{
				if (tornado_condition()){
					in_tornado = 1;
					tornado_start_time = micros();
				}
			}
		}
		run_right_motor();
		run_left_motor();
	}
  /* USER CODE END Callback 0 */
  if (htim->Instance == TIM2) {
    HAL_IncTick();
  }
}

void Error_Handler(void)
{
  __disable_irq();
  while (1)
  {
  }
}
